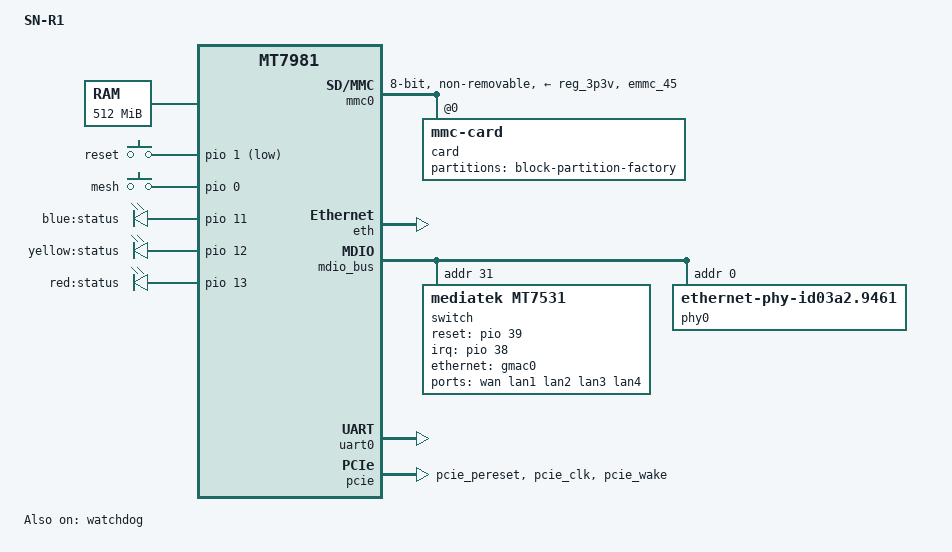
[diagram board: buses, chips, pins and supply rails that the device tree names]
// SPDX-License-Identifier: GPL-2.0-or-later OR MIT
/*
 * Copyright (C) 2023 Tianling Shen <cnsztl@immortalwrt.org>
 */

/dts-v1/;
#include <dt-bindings/gpio/gpio.h>
#include <dt-bindings/input/input.h>
#include <dt-bindings/leds/common.h>

#include "mt7981.dtsi"

/ {
	model = "SN-R1";
	compatible = "sn,r1", "mediatek,mt7981";

	aliases {
		led-boot = &status_red_led;
		led-failsafe = &status_red_led;
		led-running = &status_blue_led;
		led-upgrade = &status_yellow_led;
		serial0 = &uart0;
	};

	chosen: chosen {
		bootargs = "root=PARTLABEL=rootfs rootwait rootfstype=squashfs,f2fs";
		stdout-path = "serial0:115200n8";
	};

	memory {
		reg = <0 0x40000000 0 0x20000000>;
	};

	gpio-keys {
		compatible = "gpio-keys";

		button-reset {
			label = "reset";
			linux,code = <KEY_RESTART>;
			gpios = <&pio 1 GPIO_ACTIVE_LOW>;
		};

		button-mesh {
			label = "mesh";
			linux,code = <BTN_9>;
			linux,input-type = <EV_SW>;
			gpios = <&pio 0 GPIO_ACTIVE_HIGH>;
		};
	};

	gpio-leds {
		compatible = "gpio-leds";

        status_blue_led: led-0 {
                label = "blue:status";
                gpios = <&pio 11 GPIO_ACTIVE_HIGH>;
        };

        status_yellow_led: led-1 {
                label = "yellow:status";
                gpios = <&pio 12 GPIO_ACTIVE_HIGH>;
        };

        status_red_led: led-2 {
                label = "red:status";
                gpios = <&pio 13 GPIO_ACTIVE_HIGH>;
        };
	};
};

&mmc0 {
	bus-width = <8>;
	cap-mmc-highspeed;
	max-frequency = <52000000>;
	non-removable;
	pinctrl-names = "default", "state_uhs";
	pinctrl-0 = <&mmc0_pins_default>;
	pinctrl-1 = <&mmc0_pins_uhs>;
	vmmc-supply = <&reg_3p3v>;
	status = "okay";

	card@0 {
		compatible = "mmc-card";
		reg = <0>;

		block {
			compatible = "block-device";

			partitions {
				block-partition-factory {
					partname = "factory";

					nvmem-layout {
						compatible = "fixed-layout";
						#address-cells = <1>;
						#size-cells = <1>;

						eeprom_factory_0: eeprom@0 {
							reg = <0x0 0x1000>;
						};

						macaddr_factory_2a: macaddr@2a {
							compatible = "mac-base";
							reg = <0x2a 0x6>;
							#nvmem-cell-cells = <1>;
						};
					};
				};
			};
		};
	};
};

&eth {
	status = "okay";

	gmac0: mac@0 {
		compatible = "mediatek,eth-mac";
		reg = <0>;
		phy-mode = "2500base-x";
		
		nvmem-cells = <&macaddr_factory_2a 0>;
		nvmem-cell-names = "mac-address";
		fixed-link {
			speed = <2500>;
			full-duplex;
			pause;
		};
	};

	gmac1: mac@1 {
		compatible = "mediatek,eth-mac";
		reg = <1>;
		phy-mode = "gmii";
		phy-handle = <&phy0>;
	};
};

&mdio_bus {
	switch: switch@1f {
		compatible = "mediatek,mt7531";
		reg = <31>;
		reset-gpios = <&pio 39 GPIO_ACTIVE_HIGH>;
		interrupt-controller;
		#interrupt-cells = <1>;
		interrupt-parent = <&pio>;
		interrupts = <38 IRQ_TYPE_LEVEL_HIGH>;
	};

	phy0: ethernet-phy@0 {
		compatible = "ethernet-phy-id03a2.9461";
		reg = <0>;
		phy-mode = "gmii";
		nvmem-cells = <&phy_calibration>;
		nvmem-cell-names = "phy-cal-data";
	};
};

&switch {
	ports {
		#address-cells = <1>;
		#size-cells = <0>;

		port@0 {
			reg = <0>;
			label = "wan";
		};

		port@1 {
			reg = <1>;
			label = "lan1";
		};

		port@2 {
			reg = <2>;
			label = "lan2";
		};

		port@3 {
			reg = <3>;
			label = "lan3";
		};

		port@4 {
			reg = <4>;
			label = "lan4";
		};

		port@6 {
			reg = <6>;
			ethernet = <&gmac0>;
			phy-mode = "2500base-x";

			fixed-link {
				speed = <2500>;
				full-duplex;
				pause;
			};
		};
	};
};

&pio {
	mmc0_pins_default: mmc0-pins-default {
		mux {
			function = "flash";
			groups = "emmc_45";
		};
	};

	mmc0_pins_uhs: mmc0-pins-uhs {
		mux {
			function = "flash";
			groups = "emmc_45";
		};
	};

	pcie_pins: pcie-pins {
		mux {
			function = "pcie";
			groups = "pcie_pereset", "pcie_clk", "pcie_wake";
		};
	};
};

&uart0 {
	status = "okay";
};

&pcie {
	pinctrl-names = "default";
	pinctrl-0 = <&pcie_pins>;
	status = "okay";
};

&watchdog {
	status = "okay";
};
